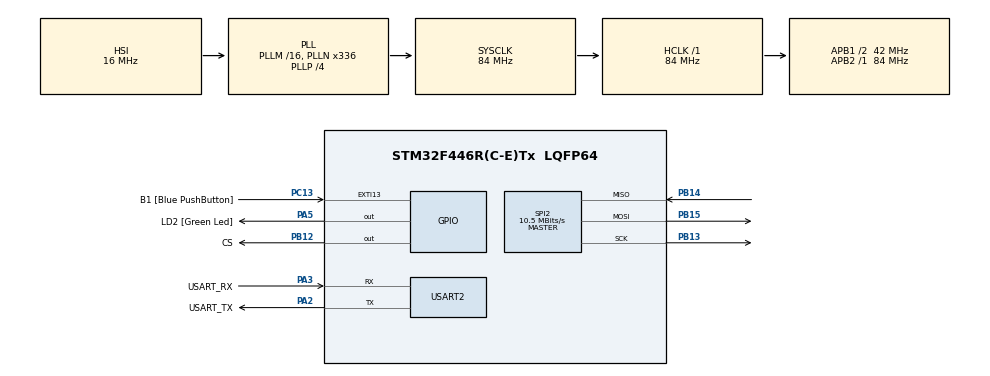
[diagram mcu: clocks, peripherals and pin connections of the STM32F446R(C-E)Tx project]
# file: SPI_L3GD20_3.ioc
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Mcu.Family=STM32F4
Mcu.Name=STM32F446R(C-E)Tx
Mcu.Package=LQFP64
NVIC.PriorityGroup=NVIC_PRIORITYGROUP_0
PA13.GPIO_Label=TMS
PA13.Mode=Serial_Wire
PA13.Signal=SYS_JTMS-SWDIO
PA14.GPIO_Label=TCK
PA14.Mode=Serial_Wire
PA14.Signal=SYS_JTCK-SWCLK
PA2.GPIO_Label=USART_TX
PA2.Mode=Asynchronous
PA2.Signal=USART2_TX
PA3.GPIO_Label=USART_RX
PA3.Mode=Asynchronous
PA3.Signal=USART2_RX
PA5.GPIO_Label=LD2 [Green Led]
PA5.Signal=GPIO_Output
PB12.GPIO_Label=CS
PB12.Signal=GPIO_Output
PB13.Mode=Full_Duplex_Master
PB13.Signal=SPI2_SCK
PB14.Mode=Full_Duplex_Master
PB14.Signal=SPI2_MISO
PB15.Mode=Full_Duplex_Master
PB15.Signal=SPI2_MOSI
PB3.GPIO_Label=SWO
PB3.Signal=SYS_JTDO-SWO
PC13.GPIO_Label=B1 [Blue PushButton]
PC13.GPIO_ModeDefaultEXTI=GPIO_MODE_IT_FALLING
PC13.Signal=GPXTI13
PC14-OSC32_IN.Mode=LSE-External-Oscillator
PC14-OSC32_IN.Signal=RCC_OSC32_IN
PC15-OSC32_OUT.Mode=LSE-External-Oscillator
PC15-OSC32_OUT.Signal=RCC_OSC32_OUT
PH0-OSC_IN.Mode=HSE-External-Oscillator
PH0-OSC_IN.Signal=RCC_OSC_IN
PH1-OSC_OUT.Mode=HSE-External-Oscillator
PH1-OSC_OUT.Signal=RCC_OSC_OUT
ProjectManager.HeapSize=0x200
ProjectManager.StackSize=0x400
ProjectManager.TargetToolchain=TrueSTUDIO
RCC.48MHZClocksFreq_Value=84000000
RCC.AHBFreq_Value=84000000
RCC.APB1CLKDivider=RCC_HCLK_DIV2
RCC.APB1Freq_Value=42000000
RCC.APB1TimFreq_Value=84000000
RCC.APB2Freq_Value=84000000
RCC.APB2TimFreq_Value=84000000
RCC.CortexFreq_Value=84000000
RCC.FLatency-AdvancedSettings=FLASH_LATENCY_2
RCC.HCLKFreq_Value=84000000
RCC.HSE_VALUE=8000000
RCC.HSI_VALUE=16000000
RCC.PLLN=336
RCC.PLLP=RCC_PLLP_DIV4
RCC.SYSCLKFreq_VALUE=84000000
RCC.SYSCLKSource=RCC_SYSCLKSOURCE_PLLCLK
RCC.USBFreq_Value=168000000
RCC.VCOOutputFreq_Value=336000000
SPI2.BaudRatePrescaler=SPI_BAUDRATEPRESCALER_4
SPI2.CalculateBaudRate=10.5 MBits/s
SPI2.Direction=SPI_DIRECTION_2LINES
SPI2.Mode=SPI_MODE_MASTER
SPI2.VirtualType=VM_MASTER
USART2.VirtualMode=VM_ASYNC
board=NUCLEO-F446RE

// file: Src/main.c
/**
  ******************************************************************************
  * @file           : main.c
  * @brief          : Main program body
  ******************************************************************************
  ** This notice applies to any and all portions of this file
  * that are not between comment pairs USER CODE BEGIN and
  * USER CODE END. Other portions of this file, whether
  * inserted by the user or by software development tools
  * are owned by their respective copyright owners.
  *
  * COPYRIGHT(c) 2018 STMicroelectronics
  *
  * Redistribution and use in source and binary forms, with or without modification,
  * are permitted provided that the following conditions are met:
  *   1. Redistributions of source code must retain the above copyright notice,
  *      this list of conditions and the following disclaimer.
  *   2. Redistributions in binary form must reproduce the above copyright notice,
  *      this list of conditions and the following disclaimer in the documentation
  *      and/or other materials provided with the distribution.
  *   3. Neither the name of STMicroelectronics nor the names of its contributors
  *      may be used to endorse or promote products derived from this software
  *      without specific prior written permission.
  *
  * THIS SOFTWARE IS PROVIDED BY THE COPYRIGHT HOLDERS AND CONTRIBUTORS "AS IS"
  * AND ANY EXPRESS OR IMPLIED WARRANTIES, INCLUDING, BUT NOT LIMITED TO, THE
  * IMPLIED WARRANTIES OF MERCHANTABILITY AND FITNESS FOR A PARTICULAR PURPOSE ARE
  * DISCLAIMED. IN NO EVENT SHALL THE COPYRIGHT HOLDER OR CONTRIBUTORS BE LIABLE
  * FOR ANY DIRECT, INDIRECT, INCIDENTAL, SPECIAL, EXEMPLARY, OR CONSEQUENTIAL
  * DAMAGES (INCLUDING, BUT NOT LIMITED TO, PROCUREMENT OF SUBSTITUTE GOODS OR
  * SERVICES; LOSS OF USE, DATA, OR PROFITS; OR BUSINESS INTERRUPTION) HOWEVER
  * CAUSED AND ON ANY THEORY OF LIABILITY, WHETHER IN CONTRACT, STRICT LIABILITY,
  * OR TORT (INCLUDING NEGLIGENCE OR OTHERWISE) ARISING IN ANY WAY OUT OF THE USE
  * OF THIS SOFTWARE, EVEN IF ADVISED OF THE POSSIBILITY OF SUCH DAMAGE.
  *
  ******************************************************************************
  */
#include "main.h"
#include "stm32f4xx_hal.h"

/* USER CODE BEGIN Includes */
/*#include "lib/core/microshell.h"
#include "lib/core/msconf.h"
#include "lib/util/mscmd.h"*/
#include "xprintf.h"
/* USER CODE END Includes */

SPI_HandleTypeDef hspi2;

UART_HandleTypeDef huart2;

/* USER CODE BEGIN PV */
/* Private variables ---------------------------------------------------------*/

/* USER CODE END PV */

void SystemClock_Config(void);
static void MX_GPIO_Init(void);
static void MX_USART2_UART_Init(void);
static void MX_SPI2_Init(void);

/* USER CODE BEGIN PFP */
/* Private function prototypes -----------------------------------------------*/

/* USER CODE END PFP */

/* USER CODE BEGIN 0 */
void uart_putc(uint8_t c)
{
	char buf[1];
	buf[0] = c;
	HAL_UART_Transmit(&huart2, (uint8_t *)buf, sizeof(buf), 0xFFFF);
}

void uart_puts(char *str)
{
	while (*str) {
		uart_putc(*str++);
	}
}

// ジャイロ関連

#define WHO_AM_I 0x0F

#define CTRL_REG1 0x20

#define CTRL_REG4 0x23

#define OUT_Z_L 0x2C

#define OUT_Z_H 0x2D

#define OUT_X_L 0x28

#define OUT_X_H 0x29

#define OUT_Y_L 0x2A

#define OUT_Y_H 0x2B

#define Certain 0xD4

#define POWER_ON 0x0F

#define L3GD20_500dps 0x10

#define L3GD20_2000dps 0x20

#define SETTING 0x80

#define gyro_cs_GPIO_Port GPIOB
#define gyro_cs_Pin GPIO_PIN_12
///////////////////////////////////////////////////////////////////////

// spi read 1 byte upper bit ( signed )

// [argument] Register

// [Substitutiong] nothing

// [return] 1byte upper bit data

///////////////////////////////////////////////////////////////////////

int16_t readShiftByte( uint8_t reg )

{

uint8_t address,val;

int16_t ret;

HAL_GPIO_WritePin( gyro_cs_GPIO_Port, gyro_cs_Pin, RESET );

 address =( reg|SETTING );

HAL_SPI_Transmit( &hspi2, &address,1,100 );

HAL_SPI_Receive( &hspi2,&val,1,100 );

 ret = (int16_t)(val<< 8);

HAL_GPIO_WritePin( gyro_cs_GPIO_Port,gyro_cs_Pin, SET );

return ret;

}

///////////////////////////////////////////////////////////////////////

// spi write 1 byte

// [argument] Register

// [Substitutiong] write data

// [return] nothong

///////////////////////////////////////////////////////////////////////

void writeByte( uint8_t reg, uint8_t val )

{

HAL_GPIO_WritePin( gyro_cs_GPIO_Port, gyro_cs_Pin, RESET );

HAL_SPI_Transmit( &hspi2, &reg,1,100 ); // 書き込みアドレス

HAL_SPI_Transmit( &hspi2, &val,1,100 ); // 書き込み

HAL_GPIO_WritePin( gyro_cs_GPIO_Port,gyro_cs_Pin, SET );

}

uint8_t readByte( uint8_t reg )

{

uint8_t ret,val;

HAL_GPIO_WritePin( gyro_cs_GPIO_Port, gyro_cs_Pin, GPIO_PIN_RESET ); //cs = 0;

ret = reg | 0x80;

HAL_SPI_Transmit( &hspi2, &ret,1,100 ); // 読み込みアドレス

HAL_SPI_Receive( &hspi2,&val,1,100 );

HAL_GPIO_WritePin( gyro_cs_GPIO_Port,gyro_cs_Pin, GPIO_PIN_SET ); //cs = 1;

return val;

}

///////////////////////////////////////////////////////////////////////

// l3gd20 set up ( spi )

// [argument] nothing

// [Substitutiong] nothing

// [return] nothig

///////////////////////////////////////////////////////////////////////

void setL3GD20( void )

{

uint8_t ret;

ret = readByte( WHO_AM_I );

printf("who am i = 0x%x",ret);

writeByte( CTRL_REG1, POWER_ON );

writeByte( CTRL_REG4,L3GD20_2000dps );

}

///////////////////////////////////////////////////////////////////////

// spi read 1 byte

// [argument] nothing

// [Substitutiong] nothing

// [return] 2000 deg/sec int data

///////////////////////////////////////////////////////////////////////

int getGyroX( void )

{

int ret;

// *0.070 because you read l3gd20 manual

 ret = ( readShiftByte(OUT_X_H) | readByte(OUT_X_L) ) * 0.070;

return ret;

}

int getGyroY( void )

{

int ret;

// *0.070 because you read l3gd20 manual

 ret = ( readShiftByte(OUT_Y_H) | readByte(OUT_Y_L) ) * 0.070;

return ret;

}

int getGyroZ( void )

{

int ret;

// *0.070 because you read l3gd20 manual

 ret = ( readShiftByte(OUT_Z_H) | readByte(OUT_Z_L) ) * 0.070;

return ret;

}

/* USER CODE END 0 */

int main(void)
{
  /* USER CODE BEGIN 1 */
xdev_out(uart_putc);
int degree[3] = {0,0,0};
int sum[3] = {0,0,0};
  /* USER CODE END 1 */

  /* MCU Configuration----------------------------------------------------------*/

  /* Reset of all peripherals, Initializes the Flash interface and the Systick. */
  HAL_Init();

  /* Configure the system clock */
  SystemClock_Config();

  /* Initialize all configured peripherals */
  MX_GPIO_Init();
  MX_USART2_UART_Init();
  MX_SPI2_Init();
  /* USER CODE BEGIN 2 */
  setbuf(stdout, NULL);
  setL3GD20();
  /* USER CODE END 2 */

  /* Infinite loop */
  while (1)
  {

  /* USER CODE BEGIN 3 */

	  xprintf("angle x axis %d  ",degree[0]);
	  sum[0] = sum[0] + getGyroX() + 7.5;
	  degree[0] = sum[0] *90 /17000 ;

	  xprintf("angle y axis %d  ",degree[1]);
	  sum[1] = sum[1] + getGyroY() - 3.5;
	  degree[1] = sum[1] *90 / 17000 ;

	  xprintf("angle z axis %d\n",degree[2]);
	  sum[2] = sum[2] + getGyroZ();
	  degree[2] = sum[2] *90 /17000 ;

  }
  /* USER CODE END 3 */

}

void SystemClock_Config(void)
{

  RCC_OscInitTypeDef RCC_OscInitStruct;
  RCC_ClkInitTypeDef RCC_ClkInitStruct;

    /**Configure the main internal regulator output voltage
    */
  __HAL_RCC_PWR_CLK_ENABLE();

  __HAL_PWR_VOLTAGESCALING_CONFIG(PWR_REGULATOR_VOLTAGE_SCALE3);

    /**Initializes the CPU, AHB and APB busses clocks
    */
  RCC_OscInitStruct.OscillatorType = RCC_OSCILLATORTYPE_HSI;
  RCC_OscInitStruct.HSIState = RCC_HSI_ON;
  RCC_OscInitStruct.HSICalibrationValue = 16;
  RCC_OscInitStruct.PLL.PLLState = RCC_PLL_ON;
  RCC_OscInitStruct.PLL.PLLSource = RCC_PLLSOURCE_HSI;
  RCC_OscInitStruct.PLL.PLLM = 16;
  RCC_OscInitStruct.PLL.PLLN = 336;
  RCC_OscInitStruct.PLL.PLLP = RCC_PLLP_DIV4;
  RCC_OscInitStruct.PLL.PLLQ = 2;
  RCC_OscInitStruct.PLL.PLLR = 2;
  if (HAL_RCC_OscConfig(&RCC_OscInitStruct) != HAL_OK)
  {
    _Error_Handler(__FILE__, __LINE__);
  }

    /**Initializes the CPU, AHB and APB busses clocks
    */
  RCC_ClkInitStruct.ClockType = RCC_CLOCKTYPE_HCLK|RCC_CLOCKTYPE_SYSCLK
                              |RCC_CLOCKTYPE_PCLK1|RCC_CLOCKTYPE_PCLK2;
  RCC_ClkInitStruct.SYSCLKSource = RCC_SYSCLKSOURCE_PLLCLK;
  RCC_ClkInitStruct.AHBCLKDivider = RCC_SYSCLK_DIV1;
  RCC_ClkInitStruct.APB1CLKDivider = RCC_HCLK_DIV2;
  RCC_ClkInitStruct.APB2CLKDivider = RCC_HCLK_DIV1;

  if (HAL_RCC_ClockConfig(&RCC_ClkInitStruct, FLASH_LATENCY_2) != HAL_OK)
  {
    _Error_Handler(__FILE__, __LINE__);
  }

    /**Configure the Systick interrupt time
    */
  HAL_SYSTICK_Config(HAL_RCC_GetHCLKFreq()/1000);

    /**Configure the Systick
    */
  HAL_SYSTICK_CLKSourceConfig(SYSTICK_CLKSOURCE_HCLK);

  /* SysTick_IRQn interrupt configuration */
  HAL_NVIC_SetPriority(SysTick_IRQn, 0, 0);
}

/* SPI2 init function */
static void MX_SPI2_Init(void)
{

  /* SPI2 parameter configuration*/
  hspi2.Instance = SPI2;
  hspi2.Init.Mode = SPI_MODE_MASTER;
  hspi2.Init.Direction = SPI_DIRECTION_2LINES;
  hspi2.Init.DataSize = SPI_DATASIZE_8BIT;
  hspi2.Init.CLKPolarity = SPI_POLARITY_LOW;
  hspi2.Init.CLKPhase = SPI_PHASE_1EDGE;
  hspi2.Init.NSS = SPI_NSS_SOFT;
  hspi2.Init.BaudRatePrescaler = SPI_BAUDRATEPRESCALER_4;
  hspi2.Init.FirstBit = SPI_FIRSTBIT_MSB;
  hspi2.Init.TIMode = SPI_TIMODE_DISABLE;
  hspi2.Init.CRCCalculation = SPI_CRCCALCULATION_DISABLE;
  hspi2.Init.CRCPolynomial = 10;
  if (HAL_SPI_Init(&hspi2) != HAL_OK)
  {
    _Error_Handler(__FILE__, __LINE__);
  }

}

/* USART2 init function */
static void MX_USART2_UART_Init(void)
{

  huart2.Instance = USART2;
  huart2.Init.BaudRate = 115200;
  huart2.Init.WordLength = UART_WORDLENGTH_8B;
  huart2.Init.StopBits = UART_STOPBITS_1;
  huart2.Init.Parity = UART_PARITY_NONE;
  huart2.Init.Mode = UART_MODE_TX_RX;
  huart2.Init.HwFlowCtl = UART_HWCONTROL_NONE;
  huart2.Init.OverSampling = UART_OVERSAMPLING_16;
  if (HAL_UART_Init(&huart2) != HAL_OK)
  {
    _Error_Handler(__FILE__, __LINE__);
  }

}

/** Configure pins as
        * Analog
        * Input
        * Output
        * EVENT_OUT
        * EXTI
*/
static void MX_GPIO_Init(void)
{

  GPIO_InitTypeDef GPIO_InitStruct;

  /* GPIO Ports Clock Enable */
  __HAL_RCC_GPIOC_CLK_ENABLE();
  __HAL_RCC_GPIOH_CLK_ENABLE();
  __HAL_RCC_GPIOA_CLK_ENABLE();
  __HAL_RCC_GPIOB_CLK_ENABLE();

  /*Configure GPIO pin Output Level */
  HAL_GPIO_WritePin(LD2_GPIO_Port, LD2_Pin, GPIO_PIN_RESET);

  /*Configure GPIO pin Output Level */
  HAL_GPIO_WritePin(CS_GPIO_Port, CS_Pin, GPIO_PIN_RESET);

  /*Configure GPIO pin : B1_Pin */
  GPIO_InitStruct.Pin = B1_Pin;
  GPIO_InitStruct.Mode = GPIO_MODE_IT_FALLING;
  GPIO_InitStruct.Pull = GPIO_NOPULL;
  HAL_GPIO_Init(B1_GPIO_Port, &GPIO_InitStruct);

  /*Configure GPIO pin : LD2_Pin */
  GPIO_InitStruct.Pin = LD2_Pin;
  GPIO_InitStruct.Mode = GPIO_MODE_OUTPUT_PP;
  GPIO_InitStruct.Pull = GPIO_NOPULL;
  GPIO_InitStruct.Speed = GPIO_SPEED_FREQ_LOW;
  HAL_GPIO_Init(LD2_GPIO_Port, &GPIO_InitStruct);

  /*Configure GPIO pin : CS_Pin */
  GPIO_InitStruct.Pin = CS_Pin;
  GPIO_InitStruct.Mode = GPIO_MODE_OUTPUT_PP;
  GPIO_InitStruct.Pull = GPIO_NOPULL;
  GPIO_InitStruct.Speed = GPIO_SPEED_FREQ_LOW;
  HAL_GPIO_Init(CS_GPIO_Port, &GPIO_InitStruct);

}

void _Error_Handler(char *file, int line)
{
  while(1)
  {
  }
}

/************************ (C) COPYRIGHT STMicroelectronics *****END OF FILE****/
